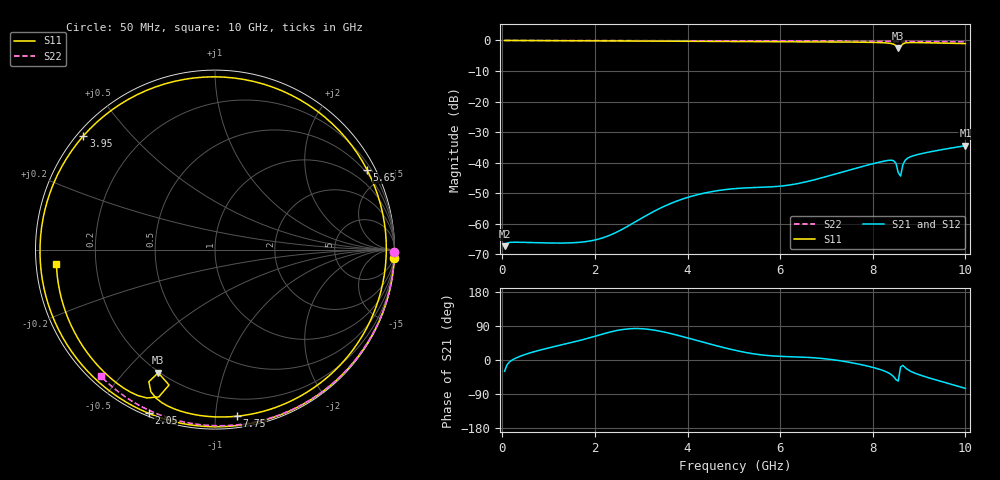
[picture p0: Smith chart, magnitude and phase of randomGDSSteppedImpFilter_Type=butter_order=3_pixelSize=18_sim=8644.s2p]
! freq	dB(S11)	phase(S11)	dB(S12)	phase(S12)
!  dB(S21)	phase(S21)	dB(S22)	phase(S22)
!S-par simulation data
#  GHz  S  DB  R 50
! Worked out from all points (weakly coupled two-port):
!   200 points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, 50 MHz to 10 GHz, reference 50 ohm
!   highest |S21| = -34.45 dB at 10 GHz (marker M1); lowest = -67.4 dB at 50 MHz (marker M2)
!   lowest |S11| = -2.4 dB at 8.55 GHz (marker M3), VSWR 7.18, Z = 9.75 - j31.1 ohm
!   |S11| at or under -10 dB: nowhere
!   |S22| runs from -0.4 to 0.0 dB; largest |S21 - S12| = 0
!   S11 on the Smith chart (normalised r, x): 50 MHz: 0, -41; 2.05 GHz: 0.01, -0.67; 3.95 GHz: 0.02, +0.37; 5.65 GHz: 0.38, +4.02; 7.75 GHz: 0.08, -1.14; 10 GHz: 0.06, -0.05
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0.05  -0.00 -2.8  -67.38 -29.7  -67.38 -29.7  -0.00 -0.8
0.95  -0.06 -52.6  -66.33 30.4  -66.33 30.4  -0.02 -14.4
1.75  -0.12 -95.9  -65.99 54.1  -65.99 54.1  -0.03 -26.3
2.05  -0.14 -112.0  -65.18 64.5  -65.18 64.5  -0.04 -30.7
2.8  -0.18 -153.0  -60.05 82.7  -60.05 82.7  -0.05 -41.6
3.4  -0.23 172.7  -55.01 76.2  -55.01 76.2  -0.07 -50.1
3.95  -0.27 139.1  -51.65 59.9  -51.65 59.9  -0.08 -57.7
4.5  -0.32 103.6  -49.58 41.6  -49.58 41.6  -0.09 -65.2
5.05  -0.35 66.9  -48.50 25.0  -48.50 25.0  -0.11 -72.5
5.65  -0.38 27.7  -48.06 12.8  -48.06 12.8  -0.13 -80.2
6.15  -0.41 -2.7  -47.46 9.0  -47.46 9.0  -0.15 -86.6
6.7  -0.44 -33.0  -45.78 6.1  -45.78 6.1  -0.18 -93.4
7.2  -0.49 -57.7  -43.70 -0.3  -43.70 -0.3  -0.21 -99.5
7.75  -0.57 -82.5  -41.37 -12.3  -41.37 -12.3  -0.24 -106.0
8.35  -0.89 -109.1  -39.26 -34.7  -39.26 -34.7  -0.29 -113.1
8.5  -1.69 -116.6  -40.19 -51.6  -40.19 -51.6  -0.30 -114.8
8.55  -2.44 -114.7  -43.31 -55.6  -43.31 -55.6  -0.30 -115.4
8.6  -1.97 -108.7  -44.42 -18.3  -44.42 -18.3  -0.31 -116.0
8.65  -1.13 -110.9  -40.68 -14.2  -40.68 -14.2  -0.31 -116.6
8.8  -0.69 -120.7  -38.18 -28.6  -38.18 -28.6  -0.33 -118.3
9.4  -0.82 -147.4  -36.01 -53.8  -36.01 -53.8  -0.38 -125.1
10  -1.04 -174.7  -34.45 -74.9  -34.45 -74.9  -0.45 -132.0
